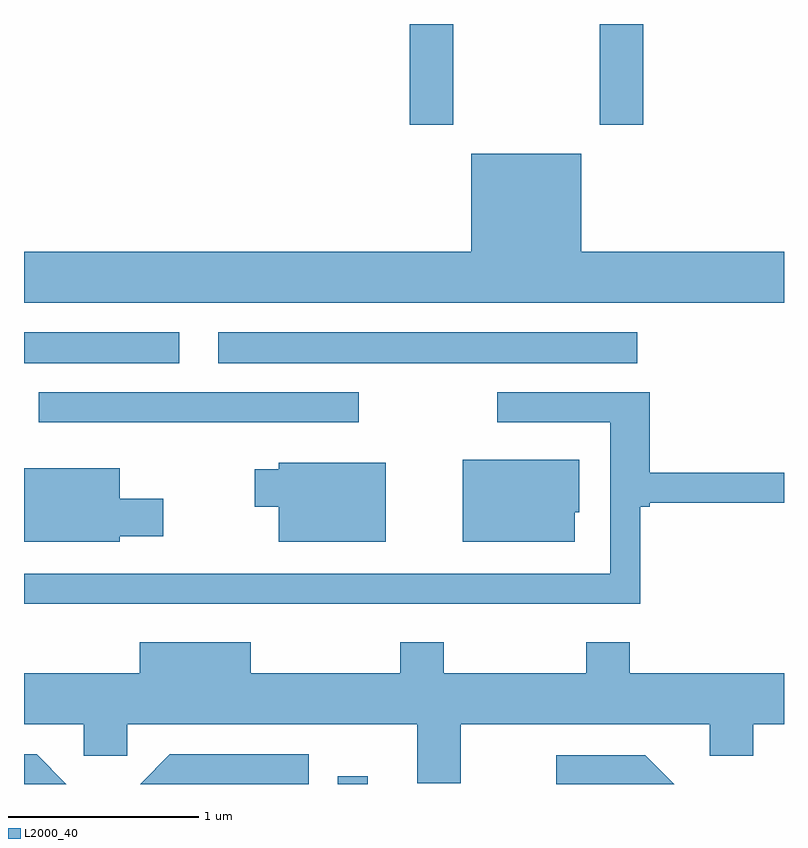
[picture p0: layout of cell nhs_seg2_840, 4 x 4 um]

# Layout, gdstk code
import gdstk
lib = gdstk.Library(unit=1e-6, precision=1e-09)
def R(c, l, rs):  # rectangles x0, y0, x1, y1
    for r in rs: c.add(gdstk.rectangle(r[:2], r[2:], *l))
def P(c, l, *ps):  # polygons
    for p in ps: c.add(gdstk.Polygon(p, *l))
L2000_40 = (2000, 40)

nhs_seg2_840 = lib.new_cell('nhs_seg2_840')
R(nhs_seg2_840, L2000_40, [(211.261,1025.802,211.419,1025.843), (209.688,1027.706,211.373,1027.864), (209.611,1028.016,210.428,1028.179), (210.633,1028.016,212.838,1028.179), (211.641,1029.271,211.869,1029.802), (212.641,1029.271,212.869,1029.802)])
P(nhs_seg2_840, L2000_40, [(213.611,1028.604),(212.544,1028.604),(212.544,1029.119),(211.966,1029.119),(211.966,1028.604),(209.611,1028.604),(209.611,1028.336),(213.611,1028.336)],
  [(212.854,1027.261),(212.904,1027.261),(212.904,1027.281),(213.611,1027.281),(213.611,1027.439),(212.904,1027.439),(212.904,1027.864),(212.103,1027.864),(212.103,1027.706),(212.696,1027.706),(212.696,1026.909),(209.611,1026.909),(209.611,1026.751),(212.854,1026.751)],
  [(212.509,1027.231),(212.534,1027.231),(212.534,1027.509),(211.921,1027.509),(211.921,1027.076),(212.509,1027.076)],
  [(211.514,1027.494),(210.951,1027.494),(210.951,1027.459),(210.826,1027.459),(210.826,1027.261),(210.951,1027.261),(210.951,1027.076),(211.514,1027.076)],
  [(210.114,1027.106),(210.344,1027.106),(210.344,1027.304),(210.114,1027.304),(210.114,1027.464),(209.611,1027.464),(209.611,1027.076),(210.114,1027.076)],
  [(211.909,1026.116),(213.221,1026.116),(213.221,1025.951),(213.449,1025.951),(213.449,1026.116),(213.611,1026.116),(213.611,1026.384),(212.799,1026.384),(212.799,1026.549),(212.571,1026.549),(212.571,1026.384),(211.819,1026.384),(211.819,1026.549),(211.591,1026.549),(211.591,1026.384),(210.804,1026.384),(210.804,1026.549),(210.221,1026.549),(210.221,1026.384),(209.611,1026.384),(209.611,1026.116),(209.926,1026.116),(209.926,1025.951),(210.154,1025.951),(210.154,1026.116),(211.681,1026.116),(211.681,1025.806),(211.909,1025.806)],
  [(211.109,1025.959),(210.379,1025.959),(210.222,1025.802),(211.109,1025.802)],
  [(209.677,1025.959),(209.611,1025.959),(209.611,1025.802),(209.834,1025.802)],
  [(212.882,1025.954),(212.413,1025.954),(212.413,1025.802),(213.034,1025.802)])

lib.write_gds('nhs_seg2_840.gds')
